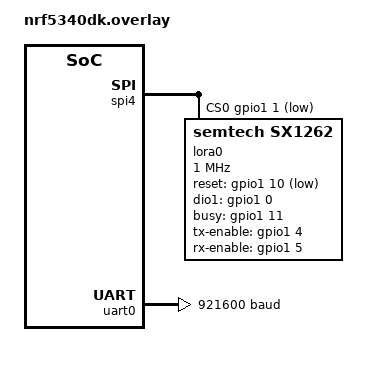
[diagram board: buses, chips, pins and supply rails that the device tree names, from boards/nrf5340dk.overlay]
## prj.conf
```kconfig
CONFIG_LOG=y
CONFIG_LORA=y
CONFIG_PRINTK=y
CONFIG_LOG_DEFAULT_LEVEL=3
# CONFIG_LORA_LOG_LEVEL_DBG=y
CONFIG_LOG_BUFFER_SIZE=2048
CONFIG_LOG_SPEED=y
CONFIG_LOG_MODE_DEFERRED=y
CONFIG_LORA_SX126X=y
CONFIG_LORA_SHELL=y
CONFIG_SHELL=y

CONFIG_LORA_INIT_PRIORITY=90
```

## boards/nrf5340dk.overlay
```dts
&spi4 {
	compatible = "nordic,nrf-spim";
	status = "okay";
	cs-gpios = <&gpio1 1 GPIO_ACTIVE_LOW>;
	pinctrl-0 = <&spi4_default>;
	pinctrl-1 = <&spi4_sleep>;
	pinctrl-names = "default", "sleep";

	lora0: sx1262@0 {
		compatible = "semtech,sx1262";
		reg = <0>;
		reset-gpios = <&gpio1 10 GPIO_ACTIVE_LOW>;
		dio1-gpios = <&gpio1 0 (GPIO_PULL_DOWN | GPIO_ACTIVE_HIGH)>;
        busy-gpios = <&gpio1 11 GPIO_ACTIVE_HIGH>;
		tx-enable-gpios = <&gpio1 4 GPIO_ACTIVE_HIGH>;
		rx-enable-gpios = <&gpio1 5 GPIO_ACTIVE_HIGH>;
		spi-max-frequency = <1000000>;
	};
};

&uart0 {
	current-speed = <921600>;
};

/ {
     aliases {
             lora0 = &lora0;
     };
};
```

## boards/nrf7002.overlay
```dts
&spi4 {
	compatible = "nordic,nrf-spim";
	status = "okay";
	cs-gpios = <&gpio0 11 GPIO_ACTIVE_LOW>;
	pinctrl-0 = <&spi4_default>;
	pinctrl-1 = <&spi4_sleep>;
	pinctrl-names = "default", "sleep";
	lora0: sx1262@1 {
		compatible = "semtech,sx1262";
		reg = <0>;
		reset-gpios = <&gpio0 2 GPIO_ACTIVE_LOW>;
		dio-gpios = <&gpio0 28 (GPIO_PULL_DOWN | GPIO_ACTIVE_HIGH)>;
		power-amplifier-output = "pa-boost";
		spi-max-frequency = <125000>;
	};
};

/ {
     aliases {
             lora0 = &lora0;
     };
};
```

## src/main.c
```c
/*
 * Copyright (c) 2019 Manivannan Sadhasivam
 *
 * SPDX-License-Identifier: Apache-2.0
 */

#include <zephyr/device.h>
#include <zephyr/drivers/lora.h>
#include <errno.h>
#include <zephyr/sys/util.h>
#include <zephyr/kernel.h>

#define DEFAULT_RADIO_NODE DT_ALIAS(lora0)
BUILD_ASSERT(DT_NODE_HAS_STATUS_OKAY(DEFAULT_RADIO_NODE),
	     "No default LoRa radio specified in DT");

#define MAX_DATA_LEN 10

#define LOG_LEVEL CONFIG_LOG_DEFAULT_LEVEL
#include <zephyr/logging/log.h>
LOG_MODULE_REGISTER(lora_send);

char data[MAX_DATA_LEN] = {'h', 'e', 'l', 'l', 'o', 'w', 'o', 'r', 'l', 'd'};

int main(void)
{
	const struct device *const lora_dev = DEVICE_DT_GET(DEFAULT_RADIO_NODE);
	struct lora_modem_config config;
	int ret;

	if (!device_is_ready(lora_dev)) {
		LOG_ERR("%s Device not ready", lora_dev->name);
		return 0;
	}
	LOG_INF("LoRa device %s is ready", lora_dev->name);

	config.frequency = 865100000;
	config.bandwidth = BW_125_KHZ;
	config.datarate = SF_10;
	config.preamble_len = 8;
	config.coding_rate = CR_4_5;
	config.iq_inverted = false;
	config.public_network = false;
	config.tx_power = 4;
	config.tx = true;

	ret = lora_config(lora_dev, &config);
	if (ret < 0) {
		LOG_ERR("LoRa config failed");
		return 0;
	}
	LOG_INF("LoRa configured with frequency %u Hz, bandwidth %d, datarate %d",
		config.frequency, config.bandwidth, config.datarate);

	while (1) {
		// ret = lora_send(lora_dev, data, MAX_DATA_LEN);
		// if (ret < 0) {
		// 	LOG_ERR("LoRa send failed");
		// 	return 0;
		// }

		// LOG_INF("Data sent!");

		/* Send data at 1s interval */
		k_sleep(K_MSEC(1000));
	}
	return 0;
}
```
